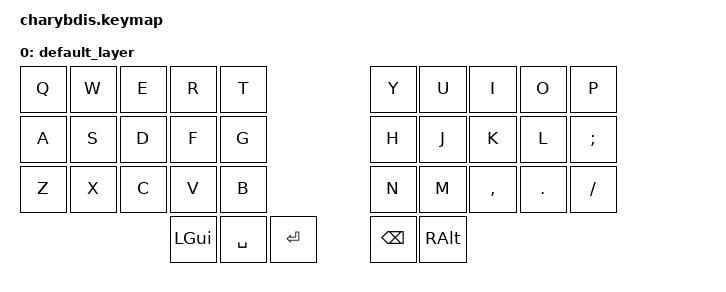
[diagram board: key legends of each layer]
#include <behaviors.dtsi>
#include <dt-bindings/zmk/keys.h>

/ {
    keymap {
        compatible = "zmk,keymap";
        label = "Test Keymap";

        default_layer {
            bindings = <
//  Col 0    Col 1    Col 2    Col 3    Col 4    Col 5          Col 6    Col 7    Col 8    Col 9    Col 10   Col 11
&kp Q      &kp W    &kp E    &kp R    &kp T                  &kp Y    &kp U    &kp I    &kp O    &kp P
&kp A      &kp S    &kp D    &kp F    &kp G                  &kp H    &kp J    &kp K    &kp L    &kp SEMI
&kp Z      &kp X    &kp C    &kp V    &kp B                  &kp N    &kp M    &kp COMMA &kp DOT  &kp FSLH
                             &kp LGUI &kp SPACE &kp RET      &kp BSPC &kp RALT
            >;
        };
    };
};
